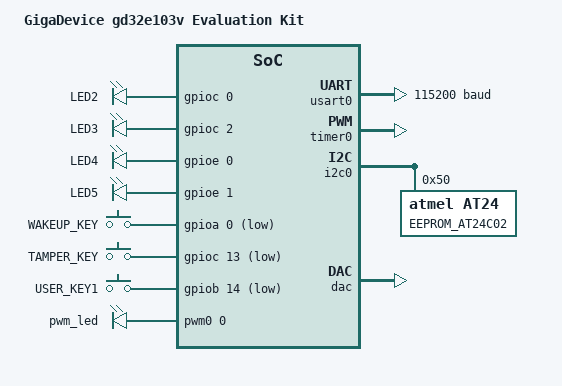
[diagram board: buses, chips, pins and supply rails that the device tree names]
/*
 * Copyright (c) 2021, YuLong Yao <feilongphone@gmail.com>
 * SPDX-License-Identifier: Apache-2.0
 */

/dts-v1/;

#include <gigadevice/gd32e10x/gd32e103vbt6.dtsi>
#include "gd32e103v_eval-pinctrl.dtsi"

/ {
	model = "GigaDevice gd32e103v Evaluation Kit";
	compatible = "gd,gd32e103v";

	chosen {
		zephyr,sram = &sram0;
		zephyr,flash = &flash0;
		zephyr,console = &usart0;
		zephyr,shell-uart = &usart0;
	};

	leds {
		compatible = "gpio-leds";
		led2: led2 {
			gpios = <&gpioc 0 GPIO_ACTIVE_HIGH>;
			label = "LED2";
		};
		led3: led3 {
			gpios = <&gpioc 2 GPIO_ACTIVE_HIGH>;
			label = "LED3";
		};
		led4: led4 {
			gpios = <&gpioe 0 GPIO_ACTIVE_HIGH>;
			label = "LED4";
		};
		led5: led5 {
			gpios = <&gpioe 1 GPIO_ACTIVE_HIGH>;
			label = "LED5";
		};
	};

	gpio_keys {
		compatible = "gpio-keys";
		wakeup_key: wakeup_key {
			label = "WAKEUP_KEY";
			gpios = <&gpioa 0 GPIO_ACTIVE_LOW>;
		};
		tamper_key: tamper_key {
			label = "TAMPER_KEY";
			gpios = <&gpioc 13 GPIO_ACTIVE_LOW>;
		};
		user_key: user_key {
			label = "USER_KEY1";
			gpios = <&gpiob 14 GPIO_ACTIVE_LOW>;
		};
	};

	pwmleds {
		compatible = "pwm-leds";

		/* NOTE: bridge TIMER0_CH0 (PA8) and LED1 (PC0) */
		pwm_led: pwm_led {
			pwms = <&pwm0 0 PWM_MSEC(20) PWM_POLARITY_NORMAL>;
		};
	};

	aliases {
		led0 = &led2;
		led1 = &led3;
		sw0 = &user_key;
		pwm-led0 = &pwm_led;
		eeprom-0 = &eeprom0;
	};
};

&gpioa {
	status = "okay";
};

&gpiob {
	status = "okay";
};

&gpioc {
	status = "okay";
};

&gpiod {
	status = "okay";
};

&gpioe {
	status = "okay";
};

&usart0 {
	status = "okay";
	current-speed = <115200>;
	pinctrl-0 = <&usart0_default>;
	pinctrl-names = "default";
};

&timer0 {
	status = "okay";
	prescaler = <128>;

	pwm0: pwm {
		status = "okay";
		pinctrl-0 = <&pwm0_default>;
		pinctrl-names = "default";
	};
};

&i2c0 {
	status = "okay";
	pinctrl-0 = <&i2c0_default>;
	pinctrl-names = "default";

	eeprom0: eeprom@50 {
		compatible = "atmel,at24";
		reg = <0x50>;
		status = "okay";
		label = "EEPROM_AT24C02";
		size = <256>;
		pagesize = <8>;
		address-width = <8>;
		timeout = <5>;
	};
};

&dac {
	status = "okay";
	pinctrl-0 = <&dac_default>;
	pinctrl-names = "default";
};
